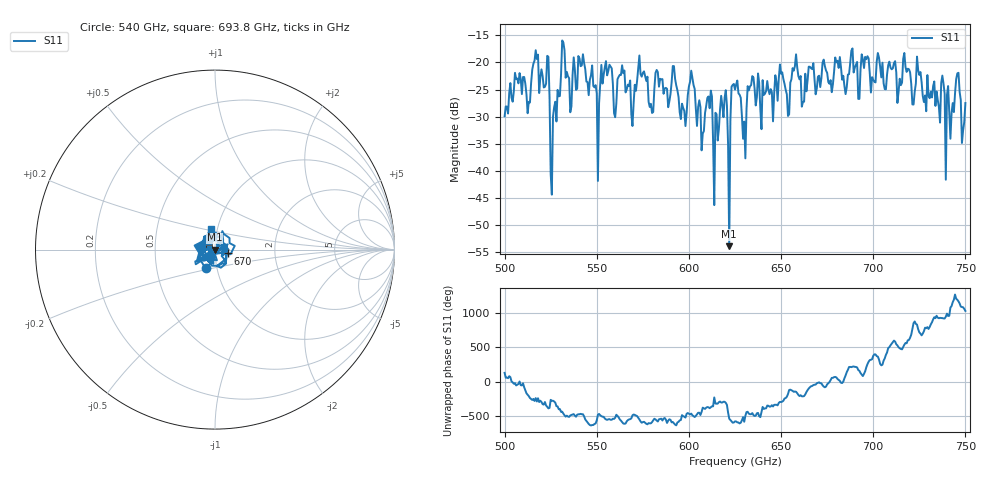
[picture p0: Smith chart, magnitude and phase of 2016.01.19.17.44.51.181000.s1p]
!Created with skrf (http://scikit-rf.org).
# GHz S RI R 50.0
!freq ReS11 ImS11
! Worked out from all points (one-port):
!   401 points, 500 GHz to 750 GHz, reference 50 ohm
!   lowest |S11| = -53.8 dB at 621.9 GHz (marker M1), VSWR 1.00, Z = 49.8 + j0.0014 ohm
!   |S11| at or under -10 dB: start of sweep to end of sweep
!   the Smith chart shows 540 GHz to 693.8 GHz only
!   S11 on the Smith chart (normalised r, x): 540 GHz: 0.88, -0.18; 670 GHz: 1.15, -0.05; 693.8 GHz: 0.93, +0.22
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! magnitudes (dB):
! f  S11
! 500 GHz  -29.9
! 506.9 GHz  -23.0
! 513.1 GHz  -27.3
! 516.9 GHz  -17.8
! 523.1 GHz  -18.8
! 526.2 GHz  -30.0
! 531.2 GHz  -16.0
! 540 GHz  -18.8
! 550 GHz  -25.7
! 553.8 GHz  -22.3
! 560 GHz  -30.1
! 562.5 GHz  -22.3
! 593.8 GHz  -25.1
! 601.9 GHz  -22.9
! 607.5 GHz  -33.1
! 611.2 GHz  -28.4
! 614.4 GHz  -29.3
! 618.8 GHz  -30.1
! 621.9 GHz  -53.8
! 625 GHz  -25.0
! 630 GHz  -30.9
! 633.8 GHz  -24.2
! 656.2 GHz  -21.1
! 670 GHz  -22.6
! 687.5 GHz  -20.1
! 693.8 GHz  -18.5
! 718.8 GHz  -21.2
! 750 GHz  -27.5
